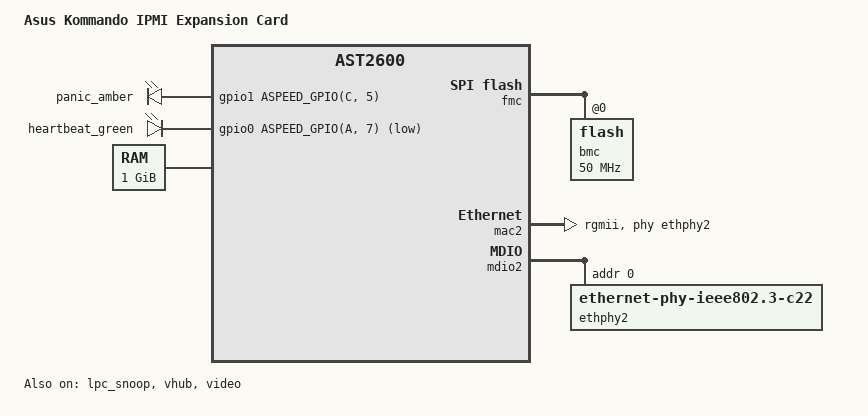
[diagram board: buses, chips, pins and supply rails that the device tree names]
// SPDX-License-Identifier: GPL-2.0-or-later
// Copyright 2025 Anirudh Srinivasan
// Copyright 2026 Grégoire Layet

/dts-v1/;

#include "aspeed-g6.dtsi"
#include "aspeed-g6-pinctrl.dtsi"
#include <dt-bindings/gpio/aspeed-gpio.h>

/ {
	compatible = "asus,ast2600-kommando-ipmi-card", "aspeed,ast2600";
	model = "Asus Kommando IPMI Expansion Card";

	aliases {
		serial4 = &uart5;
	};

	chosen {
		stdout-path = "serial4:115200n8";
	};

	leds {
		compatible = "gpio-leds";

		led-fault {
			default-state = "off";
			gpios = <&gpio1 ASPEED_GPIO(C, 5) GPIO_ACTIVE_HIGH>;
			label = "panic_amber";
			panic-indicator;
		};

		led-heartbeat {
			gpios = <&gpio0 ASPEED_GPIO(A, 7) GPIO_ACTIVE_LOW>;
			label = "heartbeat_green";
			linux,default-trigger = "timer";
		};
	};

	reserved-memory {
		ranges;
		#address-cells = <1>;
		#size-cells = <1>;

		video_engine_memory: video {
			compatible = "shared-dma-pool";
			alignment = <0x01000000>;
			reusable;
			size = <0x04000000>;
		};
	};

	memory@80000000 {
		reg = <0x80000000 0x40000000>;
		device_type = "memory";
	};
};

&fmc {
	status = "okay";

	flash@0 {
		label = "bmc";
		spi-max-frequency = <50000000>;
		m25p,fast-read;

		status = "okay";
#include "openbmc-flash-layout-64.dtsi"
	};
};

&gpio0 {
	gpio-line-names =
	/*A0 0*/	"", "", "", "", "", "", "", "led-heartbeat",
	/*B0 8*/	"", "", "", "", "", "", "", "",
	/*C0 16*/	"", "", "", "", "", "", "", "",
	/*D0 24*/	"", "", "", "", "", "", "", "",
	/*E0 32*/	"", "", "", "", "", "", "", "",
	/*F0 40*/	"", "", "", "", "", "", "", "",
	/*G0 48*/	"", "", "", "", "", "", "", "",
	/*H0 56*/	"", "", "", "", "", "", "", "",
	/*I0 64*/	"", "", "", "reset-chassis-control-n", "", "", "", "",
	/*J0 72*/	"", "", "", "", "", "", "", "",
	/*K0 80*/	"", "", "", "", "", "", "", "",
	/*L0 88*/	"", "", "", "", "", "", "", "",
	/*M0 96*/	"", "", "", "", "", "", "", "",
	/*N0 104*/	"", "", "", "", "", "", "", "",
	/*O0 112*/	"", "", "", "", "", "", "", "",
	/*P0 120*/	"", "", "", "", "", "", "", "",
	/*Q0 128*/	"", "", "", "", "", "", "", "",
	/*R0 136*/	"", "", "", "", "", "", "", "",
	/*S0 144*/	"", "", "", "", "", "", "", "",
	/*T0 152*/	"", "", "", "", "", "", "", "",
	/*U0 160*/	"", "", "", "", "", "", "", "",
	/*V0 168*/	"", "", "", "", "power-chassis-control-n", "", "host0-ready", "",
	/*W0 176*/	"", "", "", "", "", "", "", "",
	/*X0 184*/	"", "bmc-init", "bmc-ready-n", "", "", "", "", "",
	/*Y0 192*/	"", "", "", "", "", "", "", "",
	/*Z0 200*/	"", "", "", "", "", "", "", "";
};

&gpio1 {
	gpio-line-names =
	/*18A0 0*/  "","","","","","","","",
	/*18B0 8*/  "","","","","","","","",
	/*18C0 16*/ "","","","","","led-fault","","",
	/*18D0 24*/ "","","","","","","","",
	/*18E0 32*/ "","","","","","","","";
};

&lpc_snoop {
	snoop-ports = <0x80>;

	status = "okay";
};

&mac2 {
	phy-handle = <&ethphy2>;
	phy-mode = "rgmii";
	pinctrl-0 = <&pinctrl_rgmii3_default>;
	pinctrl-names = "default";

	status = "okay";
};

&mdio2 {
	pinctrl-0 = <&pinctrl_mdio3_default>;
	pinctrl-names = "default";

	status = "okay";

	ethphy2: ethernet-phy@0 {
		compatible = "ethernet-phy-ieee802.3-c22";
		reg = <0>;
	};
};

&vhub {
	status = "okay";
};

&video {
	memory-region = <&video_engine_memory>;

	status = "okay";
};
